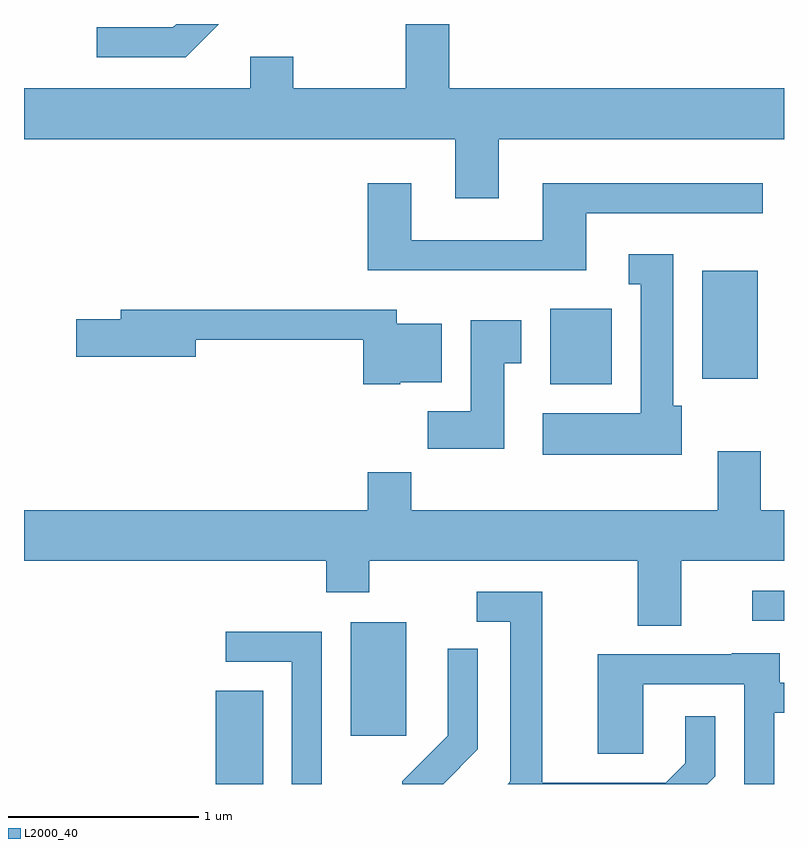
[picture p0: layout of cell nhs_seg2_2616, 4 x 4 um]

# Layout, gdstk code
import gdstk
lib = gdstk.Library(unit=1e-6, precision=1e-09)
def R(c, l, rs):  # rectangles x0, y0, x1, y1
    for r in rs: c.add(gdstk.rectangle(r[:2], r[2:], *l))
def P(c, l, *ps):  # polygons
    for p in ps: c.add(gdstk.Polygon(p, *l))
L2000_40 = (2000, 40)

nhs_seg2_2616 = lib.new_cell('nhs_seg2_2616')
R(nhs_seg2_2616, L2000_40, [(262.621,1053.802,262.869,1054.294), (263.331,1054.056,263.624,1054.654), (265.443,1054.661,265.611,1054.819), (264.381,1055.906,264.704,1056.304), (265.181,1055.936,265.474,1056.504)])
P(nhs_seg2_2616, L2000_40, [(264.109,1057.196),(265.611,1057.196),(265.611,1057.464),(263.849,1057.464),(263.849,1057.802),(263.621,1057.802),(263.621,1057.464),(263.029,1057.464),(263.029,1057.629),(262.801,1057.629),(262.801,1057.464),(261.611,1057.464),(261.611,1057.196),(263.881,1057.196),(263.881,1056.886),(264.109,1056.886)],
  [(262.637,1057.802),(262.412,1057.802),(262.394,1057.784),(261.993,1057.784),(261.993,1057.626),(262.462,1057.626)],
  [(264.569,1056.806),(265.498,1056.806),(265.498,1056.964),(264.341,1056.964),(264.341,1056.664),(263.649,1056.664),(263.649,1056.964),(263.421,1056.964),(263.421,1056.506),(264.569,1056.506)],
  [(265.074,1055.794),(265.029,1055.794),(265.029,1056.589),(264.793,1056.589),(264.793,1056.431),(264.856,1056.431),(264.856,1055.754),(264.341,1055.754),(264.341,1055.536),(265.074,1055.536)],
  [(263.59,1055.916),(263.809,1055.916),(263.809,1056.224),(263.574,1056.224),(263.574,1056.299),(262.121,1056.299),(262.121,1056.249),(261.886,1056.249),(261.886,1056.051),(262.514,1056.051),(262.514,1056.141),(263.396,1056.141),(263.396,1055.906),(263.59,1055.906)],
  [(264.139,1056.016),(264.229,1056.016),(264.229,1056.244),(263.961,1056.244),(263.961,1055.764),(263.736,1055.764),(263.736,1055.566),(264.139,1055.566)],
  [(265.069,1054.976),(265.611,1054.976),(265.611,1055.244),(265.489,1055.244),(265.489,1055.554),(265.261,1055.554),(265.261,1055.244),(263.649,1055.244),(263.649,1055.444),(263.421,1055.444),(263.421,1055.244),(261.611,1055.244),(261.611,1054.976),(263.201,1054.976),(263.201,1054.811),(263.429,1054.811),(263.429,1054.976),(264.841,1054.976),(264.841,1054.636),(265.069,1054.636)],
  [(265.249,1053.844),(265.249,1054.158),(265.091,1054.158),(265.091,1053.912),(264.989,1053.809),(264.339,1053.809),(264.339,1054.814),(263.993,1054.814),(263.993,1054.656),(264.171,1054.656),(264.171,1053.817),(264.156,1053.802),(265.207,1053.802)],
  [(263.179,1054.604),(262.673,1054.604),(262.673,1054.446),(263.021,1054.446),(263.021,1053.802),(263.179,1053.802)],
  [(263.999,1053.984),(263.999,1054.513),(263.841,1054.513),(263.841,1054.057),(263.601,1053.817),(263.601,1053.802),(263.817,1053.802)],
  [(265.559,1054.176),(265.611,1054.176),(265.611,1054.334),(265.589,1054.334),(265.589,1054.489),(265.335,1054.489),(265.335,1054.484),(264.631,1054.484),(264.631,1053.961),(264.869,1053.961),(264.869,1054.326),(265.401,1054.326),(265.401,1053.802),(265.559,1053.802)])

lib.write_gds('nhs_seg2_2616.gds')
